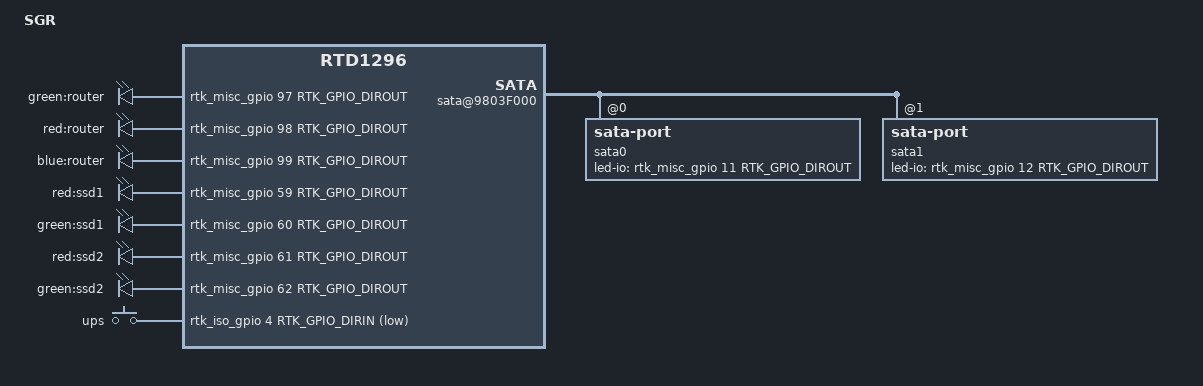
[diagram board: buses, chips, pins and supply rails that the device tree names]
/dts-v1/;

#include "rtd1296-4GB.dtsi"

/ {
	model= "SGR";
	chosen {
		default-hostname = "SGR";
	};

	aliases {
		led-boot = &led_green;
		led-failsafe = &led_red;
		led-running = &led_green;
		led-upgrade = &led_red;
	};

	sata@9803F000 {
		sata0: sata-port@0 {
			led-io = <&rtk_misc_gpio 11 RTK_GPIO_DIROUT 0>;
			/delete-property/ gpios; // SATA power is not assignd to gpio, (original gpio56)
		};
		sata1: sata-port@1 {
			led-io = <&rtk_misc_gpio 12 RTK_GPIO_DIROUT 0>;
			/delete-property/ gpios; // SATA power is not assignd to gpio, (original igpio15)
		};
	};
	ehci@98013000 {
		status = "disabled";
	};
	ohci@98013400 {
		status = "disabled";
	};
	rtk_dwc3_drd@98013200 {
		dwc3_drd@98020000 {
			dr_mode = "host";
		};
		rtk_dwc3_drd_type_c@0 {
			/delete-property/ drd_mode;
		};
	};
	rtk_dwc3_u2host@98013E00 {
		status = "disabled";
		dwc3_u2host@98029000 {
			status = "disabled";
		};
	};
	dwc3_u2host_usb2phy@0 {
		status = "disabled";
	};
	usb_phy_rle0599@0 {
		status = "disabled";
	};
	rtk_usb_power_manager@0 {
		/* For port1 and port2 */
		gpio1: gpio1 {
			realtek,power-gpio;
		};
		/* For port2 */
		gpio2: gpio2 {
			realtek,power-gpio;
		};
	};

	leds {
		compatible = "gpio-leds";

		led_green: green {
			label = "green:router";
			gpios = <&rtk_misc_gpio 97 RTK_GPIO_DIROUT GPIO_ACTIVE_HIGH>;
			default-state = "on";
		};
		led_red: red {
			label = "red:router";
			gpios = <&rtk_misc_gpio 98 RTK_GPIO_DIROUT GPIO_ACTIVE_HIGH>;
		};
		led_blue: blue {
			label = "blue:router";
			gpios = <&rtk_misc_gpio 99 RTK_GPIO_DIROUT GPIO_ACTIVE_HIGH>;
		};
		ssd1_red {
			label = "red:ssd1";
			gpios = <&rtk_misc_gpio 59 RTK_GPIO_DIROUT GPIO_ACTIVE_HIGH>;
		};
		ssd1_green {
			label = "green:ssd1";
			gpios = <&rtk_misc_gpio 60 RTK_GPIO_DIROUT GPIO_ACTIVE_HIGH>;
		};
		ssd2_red {
			label = "red:ssd2";
			gpios = <&rtk_misc_gpio 61 RTK_GPIO_DIROUT GPIO_ACTIVE_HIGH>;
		};
		ssd2_green {
			label = "green:ssd2";
			gpios = <&rtk_misc_gpio 62 RTK_GPIO_DIROUT GPIO_ACTIVE_HIGH>;
		};
	};

	keys {
		ups {
			label = "ups";
			gpios = <&rtk_iso_gpio 4 RTK_GPIO_DIRIN GPIO_ACTIVE_LOW>;
			linux,code = <BTN_1>;
		};
	};
};
